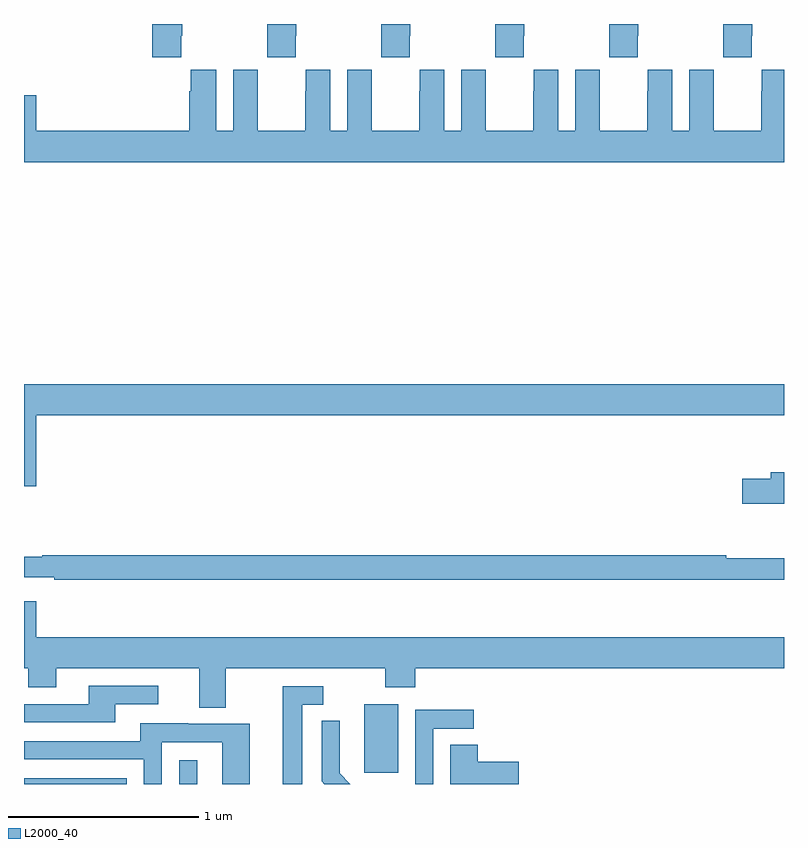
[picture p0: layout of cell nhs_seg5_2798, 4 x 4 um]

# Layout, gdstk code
import gdstk
lib = gdstk.Library(unit=1e-6, precision=1e-09)
def R(c, l, rs):  # rectangles x0, y0, x1, y1
    for r in rs: c.add(gdstk.rectangle(r[:2], r[2:], *l))
def P(c, l, *ps):  # polygons
    for p in ps: c.add(gdstk.Polygon(p, *l))
L2000_40 = (2000, 40)

nhs_seg5_2798 = lib.new_cell('nhs_seg5_2798')
R(nhs_seg5_2798, L2000_40, [(273,874.799,273.54,874.83), (273.816,874.799,273.913,874.924), (274.79,874.857,274.969,875.218)])
P(nhs_seg5_2798, L2000_40, [(273.827,878.737),(273.834,878.737),(273.834,878.799),(273.674,878.799),(273.674,878.625),(273.827,878.625)],
  [(274.431,878.737),(274.434,878.737),(274.434,878.799),(274.279,878.799),(274.279,878.737),(274.281,878.737),(274.281,878.625),(274.431,878.625)],
  [(275.031,878.737),(275.034,878.737),(275.034,878.799),(274.879,878.799),(274.879,878.737),(274.881,878.737),(274.881,878.625),(275.031,878.625)],
  [(275.631,878.737),(275.634,878.737),(275.634,878.799),(275.479,878.799),(275.479,878.737),(275.481,878.737),(275.481,878.625),(275.631,878.625)],
  [(276.231,878.737),(276.234,878.737),(276.234,878.799),(276.079,878.799),(276.079,878.737),(276.081,878.737),(276.081,878.625),(276.231,878.625)],
  [(276.831,878.737),(276.834,878.737),(276.834,878.799),(276.679,878.799),(276.679,878.737),(276.681,878.737),(276.681,878.625),(276.831,878.625)],
  [(273.878,878.557),(273.878,878.444),(273.869,878.444),(273.869,878.236),(273.064,878.236),(273.064,878.425),(273,878.425),(273,878.072),(277,878.072),(277,878.557),(276.882,878.557),(276.882,878.444),(276.881,878.444),(276.881,878.236),(276.631,878.236),(276.631,878.444),(276.63,878.444),(276.63,878.557),(276.5,878.557),(276.5,878.236),(276.412,878.236),(276.412,878.557),(276.282,878.557),(276.282,878.444),(276.281,878.444),(276.281,878.236),(276.031,878.236),(276.031,878.444),(276.03,878.444),(276.03,878.557),(275.9,878.557),(275.9,878.236),(275.812,878.236),(275.812,878.557),(275.682,878.557),(275.682,878.444),(275.681,878.444),(275.681,878.236),(275.431,878.236),(275.431,878.444),(275.43,878.444),(275.43,878.557),(275.3,878.557),(275.3,878.236),(275.212,878.236),(275.212,878.557),(275.082,878.557),(275.082,878.444),(275.081,878.444),(275.081,878.236),(274.831,878.236),(274.831,878.444),(274.83,878.444),(274.83,878.557),(274.7,878.557),(274.7,878.236),(274.612,878.236),(274.612,878.557),(274.482,878.557),(274.482,878.444),(274.481,878.444),(274.481,878.236),(274.231,878.236),(274.231,878.444),(274.23,878.444),(274.23,878.557),(274.1,878.557),(274.1,878.236),(274.012,878.236),(274.012,878.557)],
  [(273.064,876.74),(277,876.74),(277,876.904),(273,876.904),(273,876.366),(273.064,876.366)],
  [(277,876.439),(276.929,876.439),(276.929,876.405),(276.78,876.405),(276.78,876.275),(277,876.275)],
  [(277,875.987),(276.695,875.987),(276.695,876.002),(273.095,876.002),(273.095,875.995),(273,875.995),(273,875.886),(273.16,875.886),(273.16,875.874),(277,875.874)],
  [(274.063,875.408),(274.9,875.408),(274.9,875.309),(275.06,875.309),(275.06,875.408),(277,875.408),(277,875.572),(273.064,875.572),(273.064,875.761),(273,875.761),(273,875.408),(273.022,875.408),(273.022,875.309),(273.169,875.309),(273.169,875.408),(273.923,875.408),(273.923,875.2),(274.063,875.2)],
  [(273.481,875.22),(273.706,875.22),(273.706,875.316),(273.341,875.316),(273.341,875.22),(273,875.22),(273,875.124),(273.481,875.124)],
  [(274.465,875.217),(274.576,875.217),(274.576,875.313),(274.361,875.313),(274.361,874.799),(274.465,874.799)],
  [(275.154,875.091),(275.368,875.091),(275.368,875.19),(275.058,875.19),(275.058,874.799),(275.154,874.799)],
  [(274.661,874.856),(274.661,874.978),(274.662,874.978),(274.662,875.132),(274.566,875.132),(274.566,874.814),(274.581,874.799),(274.717,874.799)],
  [(273.726,875.019),(274.044,875.019),(274.044,874.799),(274.189,874.799),(274.189,875.115),(273.865,875.115),(273.865,875.119),(273.611,875.119),(273.611,875.025),(273,875.025),(273,874.929),(273.63,874.929),(273.63,874.799),(273.726,874.799)],
  [(275.605,874.916),(275.387,874.916),(275.387,875.006),(275.243,875.006),(275.243,874.799),(275.605,874.799)])

lib.write_gds('nhs_seg5_2798.gds')
